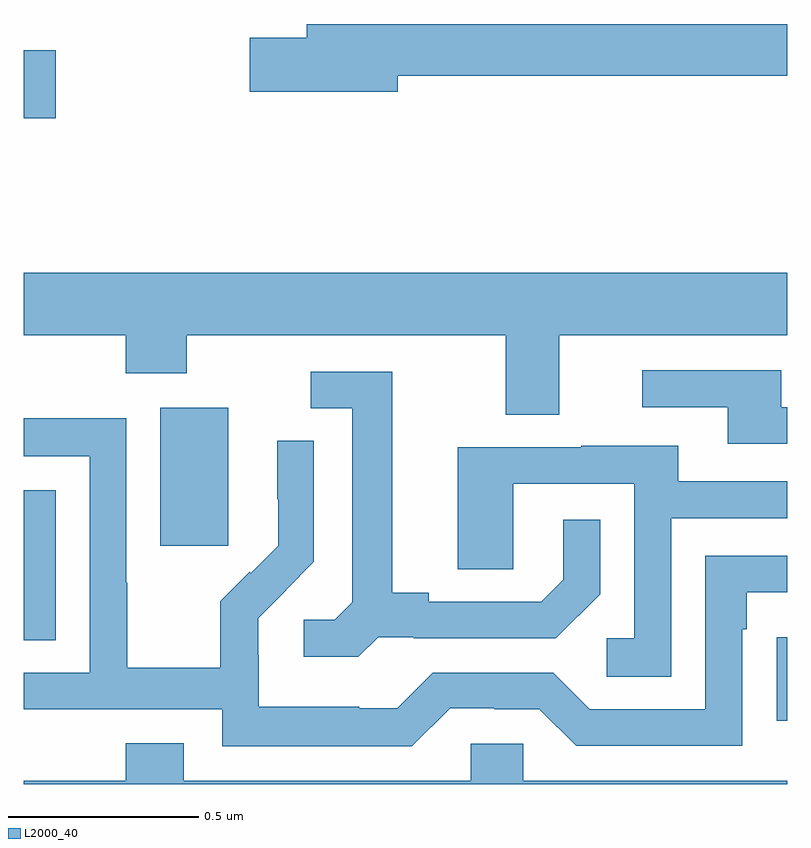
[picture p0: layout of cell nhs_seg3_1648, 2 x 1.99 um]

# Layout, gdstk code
import gdstk
lib = gdstk.Library(unit=1e-6, precision=1e-09)
def R(c, l, rs):  # rectangles x0, y0, x1, y1
    for r in rs: c.add(gdstk.rectangle(r[:2], r[2:], *l))
def P(c, l, *ps):  # polygons
    for p in ps: c.add(gdstk.Polygon(p, *l))
L2000_40 = (2000, 40)

nhs_seg3_1648 = lib.new_cell('nhs_seg3_1648')
R(nhs_seg3_1648, L2000_40, [(132.973,706.566,133,706.784), (131,706.777,131.083,707.17), (131.357,707.025,131.536,707.386), (131,708.145,131.083,708.323)])
P(nhs_seg3_1648, L2000_40, [(131.98,708.256),(133,708.256),(133,708.392),(131.741,708.392),(131.741,708.356),(131.592,708.356),(131.592,708.214),(131.98,708.214)],
  [(132.403,707.576),(133,707.576),(133,707.74),(131,707.74),(131,707.576),(131.267,707.576),(131.267,707.477),(131.427,707.477),(131.427,707.576),(132.263,707.576),(132.263,707.368),(132.403,707.368)],
  [(133,707.388),(132.985,707.388),(132.985,707.484),(132.621,707.484),(132.621,707.388),(132.845,707.388),(132.845,707.292),(133,707.292)],
  [(131.928,706.785),(132.022,706.785),(132.022,706.782),(132.394,706.782),(132.51,706.898),(132.51,707.092),(132.413,707.092),(132.413,706.935),(132.356,706.878),(132.061,706.878),(132.061,706.901),(131.965,706.901),(131.965,707.481),(131.751,707.481),(131.751,707.385),(131.861,707.385),(131.861,706.877),(131.814,706.83),(131.733,706.83),(131.733,706.733),(131.876,706.733)],
  [(132.117,706.599),(132.233,706.599),(132.233,706.596),(132.351,706.596),(132.447,706.5),(132.882,706.5),(132.882,706.805),(132.895,706.805),(132.895,706.902),(133,706.902),(133,706.998),(132.786,706.998),(132.786,706.596),(132.483,706.596),(132.387,706.692),(132.072,706.692),(131.979,706.599),(131.879,706.599),(131.879,706.603),(131.616,706.603),(131.616,706.737),(131.614,706.737),(131.614,706.834),(131.688,706.908),(131.687,706.909),(131.76,706.982),(131.76,707.3),(131.664,707.3),(131.664,707.146),(131.666,707.146),(131.666,707.024),(131.595,706.953),(131.592,706.956),(131.515,706.879),(131.515,706.705),(131.271,706.705),(131.271,706.928),(131.268,706.928),(131.268,707.358),(131,707.358),(131,707.259),(131.172,707.259),(131.172,706.692),(131,706.692),(131,706.596),(131.52,706.596),(131.52,706.499),(132.017,706.499)],
  [(132.696,707.097),(133,707.097),(133,707.193),(132.715,707.193),(132.715,707.287),(132.461,707.287),(132.461,707.283),(132.137,707.283),(132.137,706.963),(132.282,706.963),(132.282,707.187),(132.6,707.187),(132.6,706.782),(132.528,706.782),(132.528,706.681),(132.696,706.681)],
  [(133,706.408),(132.309,706.408),(132.309,706.506),(132.171,706.506),(132.171,706.408),(131.419,706.408),(131.419,706.507),(131.267,706.507),(131.267,706.408),(131,706.408),(131,706.4),(133,706.4)])

lib.write_gds('nhs_seg3_1648.gds')
